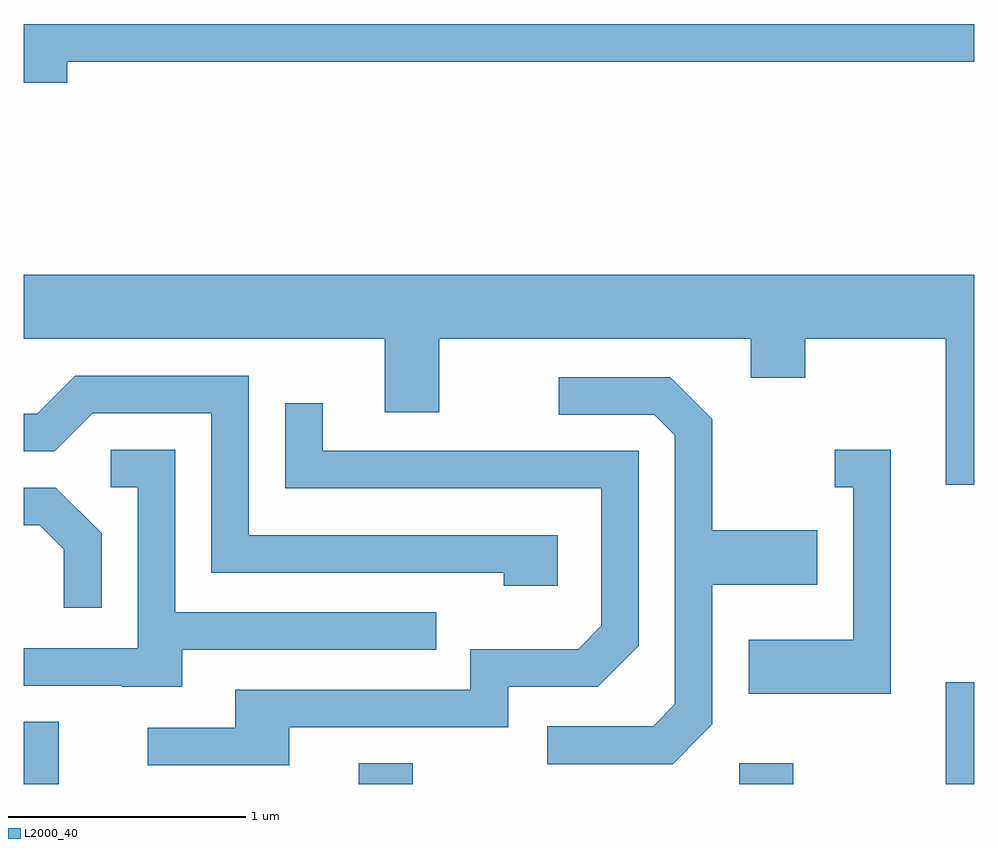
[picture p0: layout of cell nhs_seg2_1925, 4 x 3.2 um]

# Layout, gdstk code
import gdstk
lib = gdstk.Library(unit=1e-6, precision=1e-09)
def R(c, l, rs):  # rectangles x0, y0, x1, y1
    for r in rs: c.add(gdstk.rectangle(r[:2], r[2:], *l))
def P(c, l, *ps):  # polygons
    for p in ps: c.add(gdstk.Polygon(p, *l))
L2000_40 = (2000, 40)

nhs_seg2_1925 = lib.new_cell('nhs_seg2_1925')
R(nhs_seg2_1925, L2000_40, [(241.611,1019.802,241.759,1020.064), (243.021,1019.802,243.249,1019.889), (244.621,1019.802,244.849,1019.889), (245.491,1019.802,245.611,1020.229)])
P(nhs_seg2_1925, L2000_40, [(241.794,1022.841),(245.611,1022.841),(245.611,1022.999),(241.611,1022.999),(241.611,1022.751),(241.794,1022.751)],
  [(245.611,1021.944),(241.611,1021.944),(241.611,1021.676),(243.131,1021.676),(243.131,1021.366),(243.359,1021.366),(243.359,1021.676),(244.671,1021.676),(244.671,1021.511),(244.899,1021.511),(244.899,1021.676),(245.491,1021.676),(245.491,1021.061),(245.611,1021.061)],
  [(243.859,1020.849),(242.559,1020.849),(242.559,1021.519),(241.829,1021.519),(241.669,1021.359),(241.611,1021.359),(241.611,1021.201),(241.742,1021.201),(241.902,1021.361),(242.401,1021.361),(242.401,1020.691),(243.631,1020.691),(243.631,1020.636),(243.859,1020.636)],
  [(244.468,1020.013),(244.509,1020.054),(244.509,1020.641),(244.949,1020.641),(244.949,1020.869),(244.509,1020.869),(244.509,1021.337),(244.332,1021.514),(243.863,1021.514),(243.863,1021.356),(244.264,1021.356),(244.351,1021.269),(244.351,1020.137),(244.259,1020.044),(243.813,1020.044),(243.813,1019.886),(244.342,1019.886)],
  [(242.729,1020.041),(243.649,1020.041),(243.649,1020.211),(244.027,1020.211),(244.199,1020.384),(244.199,1021.204),(242.869,1021.204),(242.869,1021.403),(242.711,1021.403),(242.711,1021.046),(244.041,1021.046),(244.041,1020.467),(243.944,1020.369),(243.491,1020.369),(243.491,1020.199),(242.501,1020.199),(242.501,1020.039),(242.133,1020.039),(242.133,1019.881),(242.729,1019.881)],
  [(245.259,1021.209),(245.023,1021.209),(245.023,1021.051),(245.101,1021.051),(245.101,1020.409),(244.661,1020.409),(244.661,1020.181),(245.259,1020.181)],
  [(242.279,1020.366),(243.348,1020.366),(243.348,1020.524),(242.249,1020.524),(242.249,1021.209),(241.978,1021.209),(241.978,1021.051),(242.091,1021.051),(242.091,1020.374),(241.611,1020.374),(241.611,1020.216),(242.025,1020.216),(242.025,1020.211),(242.279,1020.211)],
  [(241.939,1020.857),(241.747,1021.049),(241.611,1021.049),(241.611,1020.891),(241.679,1020.891),(241.781,1020.789),(241.781,1020.543),(241.939,1020.543)])

lib.write_gds('nhs_seg2_1925.gds')
